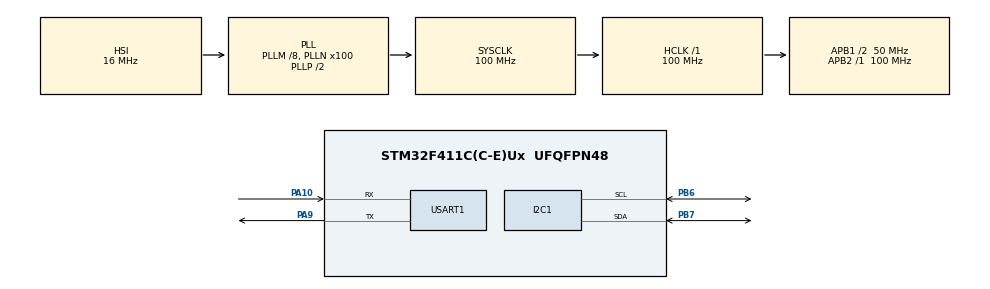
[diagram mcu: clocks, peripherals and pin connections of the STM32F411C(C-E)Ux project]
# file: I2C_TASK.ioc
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Mcu.Family=STM32F4
Mcu.Name=STM32F411C(C-E)Ux
Mcu.Package=UFQFPN48
NVIC.PriorityGroup=NVIC_PRIORITYGROUP_4
PA10.Mode=Asynchronous
PA10.Signal=USART1_RX
PA9.Mode=Asynchronous
PA9.Signal=USART1_TX
PB6.Mode=I2C
PB6.Signal=I2C1_SCL
PB7.Mode=I2C
PB7.Signal=I2C1_SDA
ProjectManager.HeapSize=0x200
ProjectManager.StackSize=0x400
ProjectManager.TargetToolchain=Makefile
RCC.48MHZClocksFreq_Value=50000000
RCC.AHBFreq_Value=100000000
RCC.APB1CLKDivider=RCC_HCLK_DIV2
RCC.APB1Freq_Value=50000000
RCC.APB1TimFreq_Value=100000000
RCC.APB2Freq_Value=100000000
RCC.APB2TimFreq_Value=100000000
RCC.CortexFreq_Value=100000000
RCC.HCLKFreq_Value=100000000
RCC.HSE_VALUE=25000000
RCC.HSI_VALUE=16000000
RCC.LSE_VALUE=32768
RCC.PLLM=8
RCC.PLLN=100
RCC.SYSCLKFreq_VALUE=100000000
RCC.SYSCLKSource=RCC_SYSCLKSOURCE_PLLCLK
RCC.VCOOutputFreq_Value=200000000
USART1.VirtualMode=VM_ASYNC
board=custom

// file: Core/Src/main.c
/* USER CODE BEGIN Header */
/**
  ******************************************************************************
  * @file           : main.c
  * @brief          : Main program body
  ******************************************************************************
  * @attention
  *
  * Copyright (c) 2026 STMicroelectronics.
  * All rights reserved.
  *
  * This software is licensed under terms that can be found in the LICENSE file
  * in the root directory of this software component.
  * If no LICENSE file comes with this software, it is provided AS-IS.
  *
  ******************************************************************************
  */
/* USER CODE END Header */
#include "main.h"
#include <stdio.h>
#include <stdint.h>

/* USER CODE BEGIN PD */
#define ADDRESS (0x68<<1)
#define POWER (0x6B)
/* USER CODE END PD */

I2C_HandleTypeDef hi2c1;

UART_HandleTypeDef huart1;

/* USER CODE BEGIN PV */
uint8_t wakeup = 0x00;
uint8_t data[6];
uint16_t x;
uint16_t y;
uint16_t z;
/* USER CODE END PV */

void SystemClock_Config(void);
static void MX_GPIO_Init(void);
static void MX_I2C1_Init(void);
static void MX_USART1_UART_Init(void);

int main(void)
{

  /* MCU Configuration--------------------------------------------------------*/

  /* Reset of all peripherals, Initializes the Flash interface and the Systick. */
  HAL_Init();

  /* Configure the system clock */
  SystemClock_Config();

  /* Initialize all configured peripherals */
  MX_GPIO_Init();
  MX_I2C1_Init();
  MX_USART1_UART_Init();
  /* USER CODE BEGIN 2 */
  HAL_Delay(100);
HAL_I2C_Mem_Write(&hi2c1,ADDRESS,POWER,I2C_MEMADD_SIZE_8BIT,&wakeup,1,100);
HAL_Delay(100);
  /* USER CODE END 2 */

  /* Infinite loop */
  /* USER CODE BEGIN WHILE */
  while (1)
  {
    if(HAL_I2C_Mem_Read(&hi2c1,ADDRESS,0x3B,I2C_MEMADD_SIZE_8BIT,data,6,100)==HAL_OK){
x=(uint16_t)(data[0]<<8)|data[1];
y=(uint16_t)(data[2]<<8)|data[3];
z=(uint16_t)(data[4]<<8)|data[5];
    }
    /* USER CODE END WHILE */

    /* USER CODE BEGIN 3 */
    transmit(x,y,z);
    HAL_Delay(500);
  }
  /* USER CODE END 3 */
}

void SystemClock_Config(void)
{
  RCC_OscInitTypeDef RCC_OscInitStruct = {0};
  RCC_ClkInitTypeDef RCC_ClkInitStruct = {0};

  /** Configure the main internal regulator output voltage
  */
  __HAL_RCC_PWR_CLK_ENABLE();
  __HAL_PWR_VOLTAGESCALING_CONFIG(PWR_REGULATOR_VOLTAGE_SCALE1);

  /** Initializes the RCC Oscillators according to the specified parameters
  * in the RCC_OscInitTypeDef structure.
  */
  RCC_OscInitStruct.OscillatorType = RCC_OSCILLATORTYPE_HSI;
  RCC_OscInitStruct.HSIState = RCC_HSI_ON;
  RCC_OscInitStruct.HSICalibrationValue = RCC_HSICALIBRATION_DEFAULT;
  RCC_OscInitStruct.PLL.PLLState = RCC_PLL_ON;
  RCC_OscInitStruct.PLL.PLLSource = RCC_PLLSOURCE_HSI;
  RCC_OscInitStruct.PLL.PLLM = 8;
  RCC_OscInitStruct.PLL.PLLN = 100;
  RCC_OscInitStruct.PLL.PLLP = RCC_PLLP_DIV2;
  RCC_OscInitStruct.PLL.PLLQ = 4;
  if (HAL_RCC_OscConfig(&RCC_OscInitStruct) != HAL_OK)
  {
    Error_Handler();
  }

  /** Initializes the CPU, AHB and APB buses clocks
  */
  RCC_ClkInitStruct.ClockType = RCC_CLOCKTYPE_HCLK|RCC_CLOCKTYPE_SYSCLK
                              |RCC_CLOCKTYPE_PCLK1|RCC_CLOCKTYPE_PCLK2;
  RCC_ClkInitStruct.SYSCLKSource = RCC_SYSCLKSOURCE_PLLCLK;
  RCC_ClkInitStruct.AHBCLKDivider = RCC_SYSCLK_DIV1;
  RCC_ClkInitStruct.APB1CLKDivider = RCC_HCLK_DIV2;
  RCC_ClkInitStruct.APB2CLKDivider = RCC_HCLK_DIV1;

  if (HAL_RCC_ClockConfig(&RCC_ClkInitStruct, FLASH_LATENCY_3) != HAL_OK)
  {
    Error_Handler();
  }
}

static void MX_I2C1_Init(void)
{

  hi2c1.Instance = I2C1;
  hi2c1.Init.ClockSpeed = 100000;
  hi2c1.Init.DutyCycle = I2C_DUTYCYCLE_2;
  hi2c1.Init.OwnAddress1 = 0;
  hi2c1.Init.AddressingMode = I2C_ADDRESSINGMODE_7BIT;
  hi2c1.Init.DualAddressMode = I2C_DUALADDRESS_DISABLE;
  hi2c1.Init.OwnAddress2 = 0;
  hi2c1.Init.GeneralCallMode = I2C_GENERALCALL_DISABLE;
  hi2c1.Init.NoStretchMode = I2C_NOSTRETCH_DISABLE;
  if (HAL_I2C_Init(&hi2c1) != HAL_OK)
  {
    Error_Handler();
  }

}

static void MX_USART1_UART_Init(void)
{

  huart1.Instance = USART1;
  huart1.Init.BaudRate = 115200;
  huart1.Init.WordLength = UART_WORDLENGTH_8B;
  huart1.Init.StopBits = UART_STOPBITS_1;
  huart1.Init.Parity = UART_PARITY_NONE;
  huart1.Init.Mode = UART_MODE_TX_RX;
  huart1.Init.HwFlowCtl = UART_HWCONTROL_NONE;
  huart1.Init.OverSampling = UART_OVERSAMPLING_16;
  if (HAL_UART_Init(&huart1) != HAL_OK)
  {
    Error_Handler();
  }

}

static void MX_GPIO_Init(void)
{

  /* GPIO Ports Clock Enable */
  __HAL_RCC_GPIOA_CLK_ENABLE();
  __HAL_RCC_GPIOB_CLK_ENABLE();

}

/* USER CODE BEGIN 4 */

void transmit(uint16_t X,uint16_t Y,uint16_t Z){
  char buffer[256];
 int len=snprintf(buffer,sizeof(buffer),"x:%u,y:%u,z:%u\r\n",X,Y,Z);

    if (len > 0) {
        HAL_UART_Transmit(&huart1, (uint8_t*)buffer, (uint16_t)len, 100);
    }

}

/* USER CODE END 4 */

void Error_Handler(void)
{
  __disable_irq();
  while (1)
  {
  }
}
